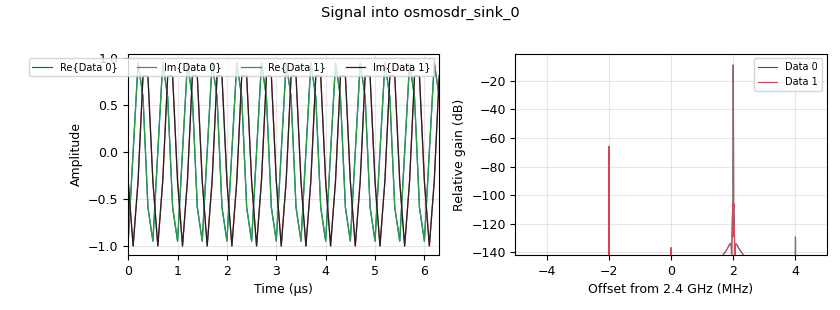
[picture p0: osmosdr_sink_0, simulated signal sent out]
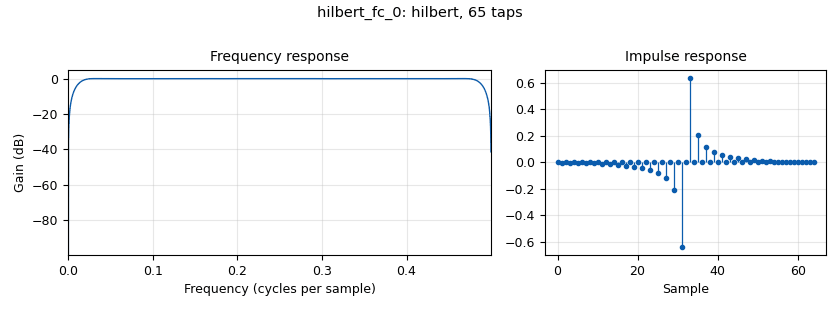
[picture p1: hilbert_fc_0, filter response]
options:
  parameters:
    author: popikeyshen
    generate_options: qt_gui
    id: block
    output_language: python
    title: Not titled yet
  states: {}

blocks:
- name: Bandwith
  id: variable_qtgui_range
  parameters:
    orient: Qt.Horizontal
    start: 1e5
    step: '100000'
    stop: 20e6
    value: 20e6
    widget: slider
  states: {}
- name: Frequency
  id: variable_qtgui_range
  parameters:
    orient: Qt.Horizontal
    start: 433e6
    step: 1e6
    stop: 5000e6
    value: 433e6
    widget: slider
  states: {}
- name: sample_rate
  id: variable
  parameters:
    value: int(10000000)
  states: {}
- name: analog_sig_source_x_0
  id: analog_sig_source_x
  parameters:
    amp: '1'
    freq: 2e3
    offset: '0'
    phase: '0'
    samp_rate: sample_rate
    type: float
    waveform: analog.GR_CONST_WAVE
  states: {state: disabled}
- name: analog_sig_source_x_0_0
  id: analog_sig_source_x
  parameters:
    amp: '1'
    freq: 2e6
    offset: '0'
    phase: '0'
    samp_rate: sample_rate
    type: float
    waveform: analog.GR_SIN_WAVE
  states: {}
- name: blocks_udp_sink_0
  id: blocks_udp_sink
  parameters:
    eof: 'True'
    ipaddr: 192.168.110.54
    port: '5000'
    psize: '1024'
    type: complex
    vlen: '1'
  states: {state: disabled}
- name: blocks_vco_f_0
  id: blocks_vco_f
  parameters:
    amplitude: '1'
    samp_rate: sample_rate*2
    sensitivity: 5e6
  states: {state: disabled}
- name: hilbert_fc_0
  id: hilbert_fc
  parameters:
    num_taps: '65'
    win: firdes.WIN_HAMMING
  states: {}
- name: low_pass_filter_0
  id: low_pass_filter
  parameters:
    cutoff_freq: 5e6
    decim: '1'
    gain: '1'
    samp_rate: sample_rate
    type: fir_filter_ccf
    width: 10e3
    win: firdes.WIN_HAMMING
  states: {state: disabled}
- name: osmosdr_sink_0
  id: osmosdr_sink
  parameters:
    args: bladerf=0,nchan=2
    bb_gain0: '10'
    bb_gain1: '20'
    bw0: 1e6
    corr1: '0'
    freq0: 2400e6
    freq1: 2400e6
    gain0: '5'
    gain1: '10'
    if_gain0: '10'
    if_gain1: '20'
    nchan: '2'
    sample_rate: sample_rate
    sync: sync
    type: fc32
  states: {}
- name: osmosdr_source_0
  id: osmosdr_source
  parameters:
    args: bladerf=0,nchan=2
    bb_gain0: '20'
    bb_gain1: '20'
    corr1: '0'
    dc_offset_mode1: '0'
    freq0: 2400e6
    freq1: 2400e6
    gain0: '30'
    gain1: '10'
    gain_mode0: 'False'
    gain_mode1: 'False'
    if_gain0: '20'
    if_gain1: '20'
    iq_balance_mode1: '0'
    nchan: '2'
    sample_rate: sample_rate
    sync: sync
    type: fc32
  states: {}
- name: qtgui_sink_x_0
  id: qtgui_sink_x
  parameters:
    bw: sample_rate
    fc: '0'
    fftsize: '1024'
    rate: '2'
    type: complex
    wintype: firdes.WIN_BLACKMAN_hARRIS
  states: {state: disabled}
- name: qtgui_sink_x_1_0
  id: qtgui_sink_x
  parameters:
    bw: sample_rate
    fc: '0'
    fftsize: '1024'
    type: complex
    wintype: firdes.WIN_BLACKMAN_hARRIS
  states: {}
- name: qtgui_sink_x_1_0_0
  id: qtgui_sink_x
  parameters:
    bw: sample_rate
    fc: '0'
    fftsize: '1024'
    type: complex
    wintype: firdes.WIN_BLACKMAN_hARRIS
  states: {}

connections:
- [analog_sig_source_x_0, '0', blocks_vco_f_0, '0']
- [analog_sig_source_x_0_0, '0', hilbert_fc_0, '0']
- [blocks_vco_f_0, '0', hilbert_fc_0, '0']
- [hilbert_fc_0, '0', osmosdr_sink_0, '0']
- [hilbert_fc_0, '0', osmosdr_sink_0, '1']
- [low_pass_filter_0, '0', blocks_udp_sink_0, '0']
- [low_pass_filter_0, '0', qtgui_sink_x_0, '0']
- [low_pass_filter_0, '0', qtgui_sink_x_1_0, '0']
- [osmosdr_source_0, '0', low_pass_filter_0, '0']
- [osmosdr_source_0, '0', qtgui_sink_x_1_0, '0']
- [osmosdr_source_0, '1', qtgui_sink_x_1_0_0, '0']

metadata:
  file_format: 1
